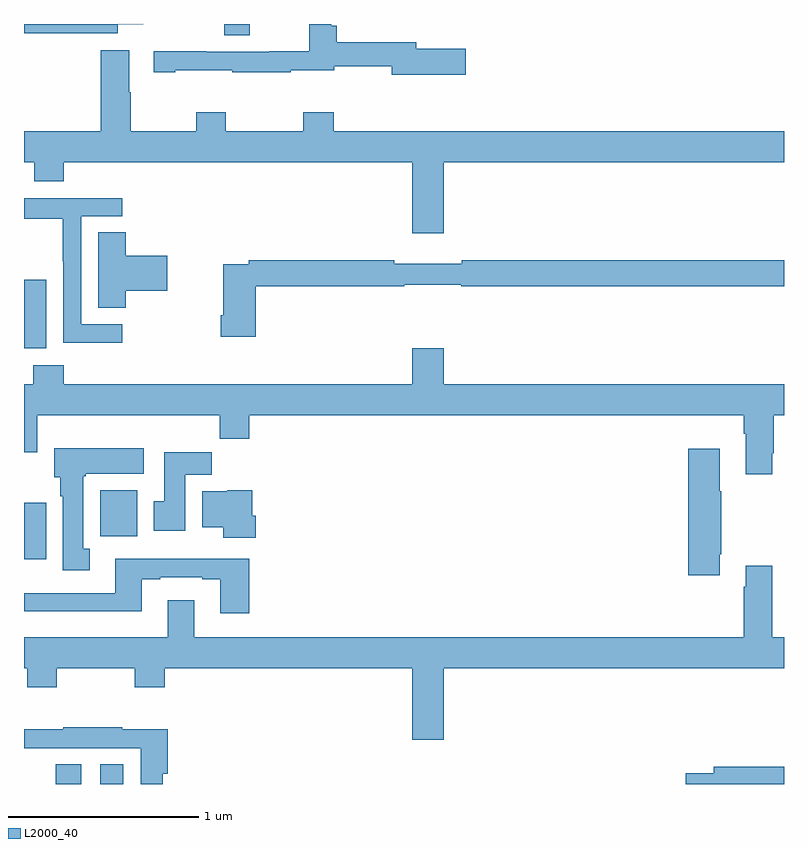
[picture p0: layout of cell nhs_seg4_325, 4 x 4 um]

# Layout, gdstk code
import gdstk
lib = gdstk.Library(unit=1e-6, precision=1e-09)
def R(c, l, rs):  # rectangles x0, y0, x1, y1
    for r in rs: c.add(gdstk.rectangle(r[:2], r[2:], *l))
def P(c, l, *ps):  # polygons
    for p in ps: c.add(gdstk.Polygon(p, *l))
L2000_40 = (2000, 40)

nhs_seg4_325 = lib.new_cell('nhs_seg4_325')
R(nhs_seg4_325, L2000_40, [(127.166,774.9,127.3,775.004), (127.4,774.9,127.522,775.003), (127,776.084,127.117,776.38), (127.4,776.204,127.597,776.446), (127,777.194,127.117,777.555), (128.054,778.84,128.188,778.9)])
P(nhs_seg4_325, L2000_40, [(129.325,778.769),(129.064,778.769),(129.064,778.805),(128.645,778.805),(128.645,778.891),(128.618,778.891),(128.618,778.9),(128.502,778.9),(128.502,778.756),(128.292,778.756),(128.292,778.755),(127.958,778.755),(127.958,778.757),(127.683,778.757),(127.683,778.647),(127.795,778.647),(127.795,778.657),(128.095,778.657),(128.095,778.647),(128.405,778.647),(128.405,778.657),(128.632,778.657),(128.632,778.677),(128.936,778.677),(128.936,778.634),(129.325,778.634)],
  [(127.494,778.898),(127.627,778.898),(127.627,778.9),(127,778.9),(127,778.852),(127.494,778.852)],
  [(129.208,778.172),(131,778.172),(131,778.336),(128.63,778.336),(128.63,778.435),(128.47,778.435),(128.47,778.336),(128.061,778.336),(128.061,778.435),(127.906,778.435),(127.906,778.336),(127.563,778.336),(127.563,778.541),(127.555,778.541),(127.555,778.762),(127.403,778.762),(127.403,778.336),(127,778.336),(127,778.172),(127.055,778.172),(127.055,778.073),(127.208,778.073),(127.208,778.172),(129.044,778.172),(129.044,777.798),(129.208,777.798)],
  [(127.516,777.321),(127.302,777.321),(127.302,777.888),(127.516,777.888),(127.516,777.984),(127,777.984),(127,777.876),(127.204,777.876),(127.204,777.652),(127.206,777.652),(127.206,777.223),(127.516,777.223)],
  [(127.535,777.497),(127.753,777.497),(127.753,777.68),(127.535,777.68),(127.535,777.803),(127.391,777.803),(127.391,777.406),(127.535,777.406)],
  [(128.219,777.52),(129.002,777.52),(129.002,777.528),(129.302,777.528),(129.302,777.52),(131,777.52),(131,777.656),(129.304,777.656),(129.304,777.637),(128.948,777.637),(128.948,777.656),(128.182,777.656),(128.182,777.636),(128.048,777.636),(128.048,777.367),(128.036,777.367),(128.036,777.255),(128.219,777.255)],
  [(130.939,776.641),(130.947,776.641),(130.947,776.84),(131,776.84),(131,777.004),(129.208,777.004),(129.208,777.193),(129.044,777.193),(129.044,777.004),(127.208,777.004),(127.208,777.103),(127.048,777.103),(127.048,777.004),(127,777.004),(127,776.646),(127.069,776.646),(127.069,776.84),(128.029,776.84),(128.029,776.716),(128.186,776.716),(128.186,776.84),(130.787,776.84),(130.787,776.744),(130.799,776.744),(130.799,776.529),(130.939,776.529)],
  [(127.345,776.138),(127.312,776.138),(127.312,776.521),(127.326,776.521),(127.326,776.534),(127.63,776.534),(127.63,776.668),(127.16,776.668),(127.16,776.514),(127.19,776.514),(127.19,776.414),(127.205,776.414),(127.205,776.025),(127.345,776.025)],
  [(130.663,776.11),(130.671,776.11),(130.671,776.441),(130.663,776.441),(130.663,776.665),(130.496,776.665),(130.496,775.998),(130.663,775.998)],
  [(127.849,776.528),(127.988,776.528),(127.988,776.647),(127.739,776.647),(127.739,776.388),(127.682,776.388),(127.682,776.232),(127.849,776.232)],
  [(128.219,776.313),(128.201,776.313),(128.201,776.446),(128.07,776.446),(128.07,776.44),(127.937,776.44),(127.937,776.252),(128.048,776.252),(128.048,776.195),(128.219,776.195)],
  [(128.186,776.086),(127.481,776.086),(127.481,775.905),(127,775.905),(127,775.808),(127.621,775.808),(127.621,775.977),(127.717,775.977),(127.717,775.989),(127.937,775.989),(127.937,775.977),(128.033,775.977),(128.033,775.8),(128.186,775.8)],
  [(129.208,775.508),(131,775.508),(131,775.672),(130.939,775.672),(130.939,776.05),(130.799,776.05),(130.799,775.937),(130.787,775.937),(130.787,775.672),(127.897,775.672),(127.897,775.867),(127.757,775.867),(127.757,775.672),(127,775.672),(127,775.508),(127.018,775.508),(127.018,775.409),(127.173,775.409),(127.173,775.508),(127.582,775.508),(127.582,775.409),(127.742,775.409),(127.742,775.508),(129.044,775.508),(129.044,775.134),(129.208,775.134)],
  [(127.73,774.953),(127.757,774.953),(127.757,775.188),(127.517,775.188),(127.517,775.198),(127.207,775.198),(127.207,775.188),(127,775.188),(127,775.089),(127.614,775.089),(127.614,774.9),(127.73,774.9)],
  [(131,774.992),(130.631,774.992),(130.631,774.956),(130.482,774.956),(130.482,774.9),(131,774.9)])

lib.write_gds('nhs_seg4_325.gds')
